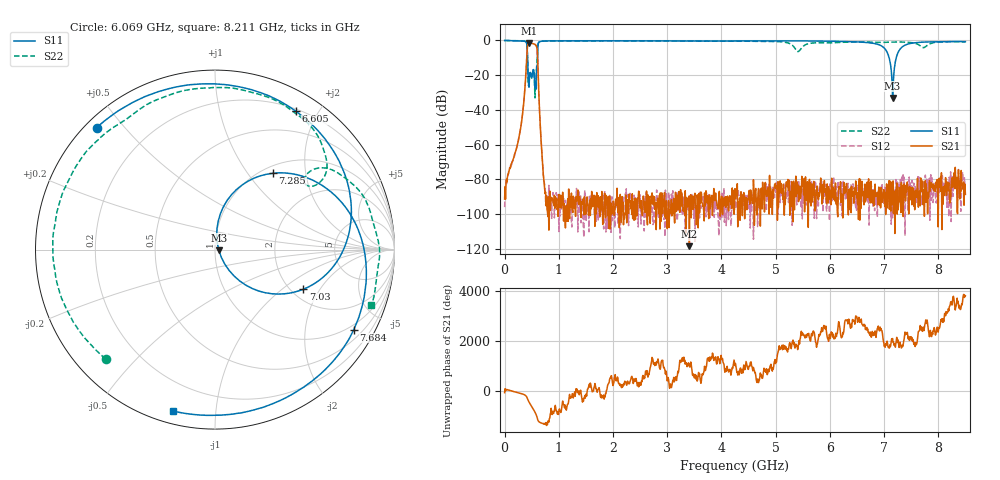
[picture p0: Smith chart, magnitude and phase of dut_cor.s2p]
# Hz S RI R 50
! CMT, S5085, 16077402, 21.3.2/1
! Date: 11/17/2021 5:19:55 PM
! Data: Format (Calibration Info)
! Freq	S11:Re/Im(F2)	S21:Re/Im(F2)	S12:Re/Im(F2)	S22:Re/Im(F2)
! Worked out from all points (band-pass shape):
!   1001 points, 1 MHz to 8.5 GHz, reference 50 ohm
!   highest |S21| = -1.54 dB at 459.9 MHz (marker M1); lowest = -118.6 dB at 3.409 GHz (marker M2)
!   |S21| within 3 dB of the highest: 420 MHz to 597.8 MHz (177.8 MHz wide, 34.9 % of centre)
!   lowest |S11| = -33.1 dB at 7.157 GHz (marker M3), VSWR 1.05, Z = 52.2 - j0.513 ohm
!   |S11| at or under -10 dB: 425.1 MHz to 608.5 MHz (183.4 MHz wide, 35.5 % of centre); 7.093 GHz to 7.224 GHz (130.9 MHz wide, 1.83 % of centre)
!   |S22| runs from -33.1 to 0.0 dB; largest |S21 - S12| = 0.0017
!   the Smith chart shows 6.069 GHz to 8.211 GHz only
!   S11 on the Smith chart (normalised r, x): 6.069 GHz: 0.03, +0.42; 6.605 GHz: 0.23, +1.72; 7.03 GHz: 2.31, -1.44; 7.285 GHz: 1.12, +1.33; 7.684 GHz: 0.81, -3.57; 8.211 GHz: 0.06, -0.77
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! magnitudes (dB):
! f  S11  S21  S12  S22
! 1 MHz  0.0  -91.4  -96.1  0.0
! 273 MHz  -0.2  -54.9  -54.8  -0.2
! 375 MHz  -0.5  -27.9  -27.9  -0.5
! 459.9 MHz  -21.2  -1.5  -1.5  -20.0
! 578.9 MHz  -28.1  -2.8  -2.8  -25.9
! 638.4 MHz  -0.9  -35.7  -35.6  -0.8
! 689.4 MHz  -0.4  -65.5  -65.6  -0.4
! 748.9 MHz  -0.3  -88.4  -85.5  -0.3
! 1.42 GHz  -0.2  -92.9  -92.7  -0.2
! 2.84 GHz  -0.3  -99.9  -102.8  -0.2
! 3.409 GHz  -0.4  -118.6  -93.7  -0.3
! 4.25 GHz  -0.3  -85.5  -87.7  -0.4
! 5.67 GHz  -0.3  -84.0  -85.5  -1.5
! 6.069 GHz  -0.5  -85.9  -78.6  -1.3
! 6.605 GHz  -1.0  -89.6  -83.2  -0.9
! 7.03 GHz  -5.4  -100.4  -91.5  -1.0
! 7.089 GHz  -9.5  -81.0  -88.2  -0.9
! 7.157 GHz  -33.1  -85.5  -102.3  -0.9
! 7.285 GHz  -5.5  -92.9  -86.4  -0.9
! 7.684 GHz  -1.0  -86.8  -91.2  -3.5
! 8.211 GHz  -0.6  -93.8  -84.2  -0.7
! 8.5 GHz  -0.7  -88.8  -84.8  -0.8
